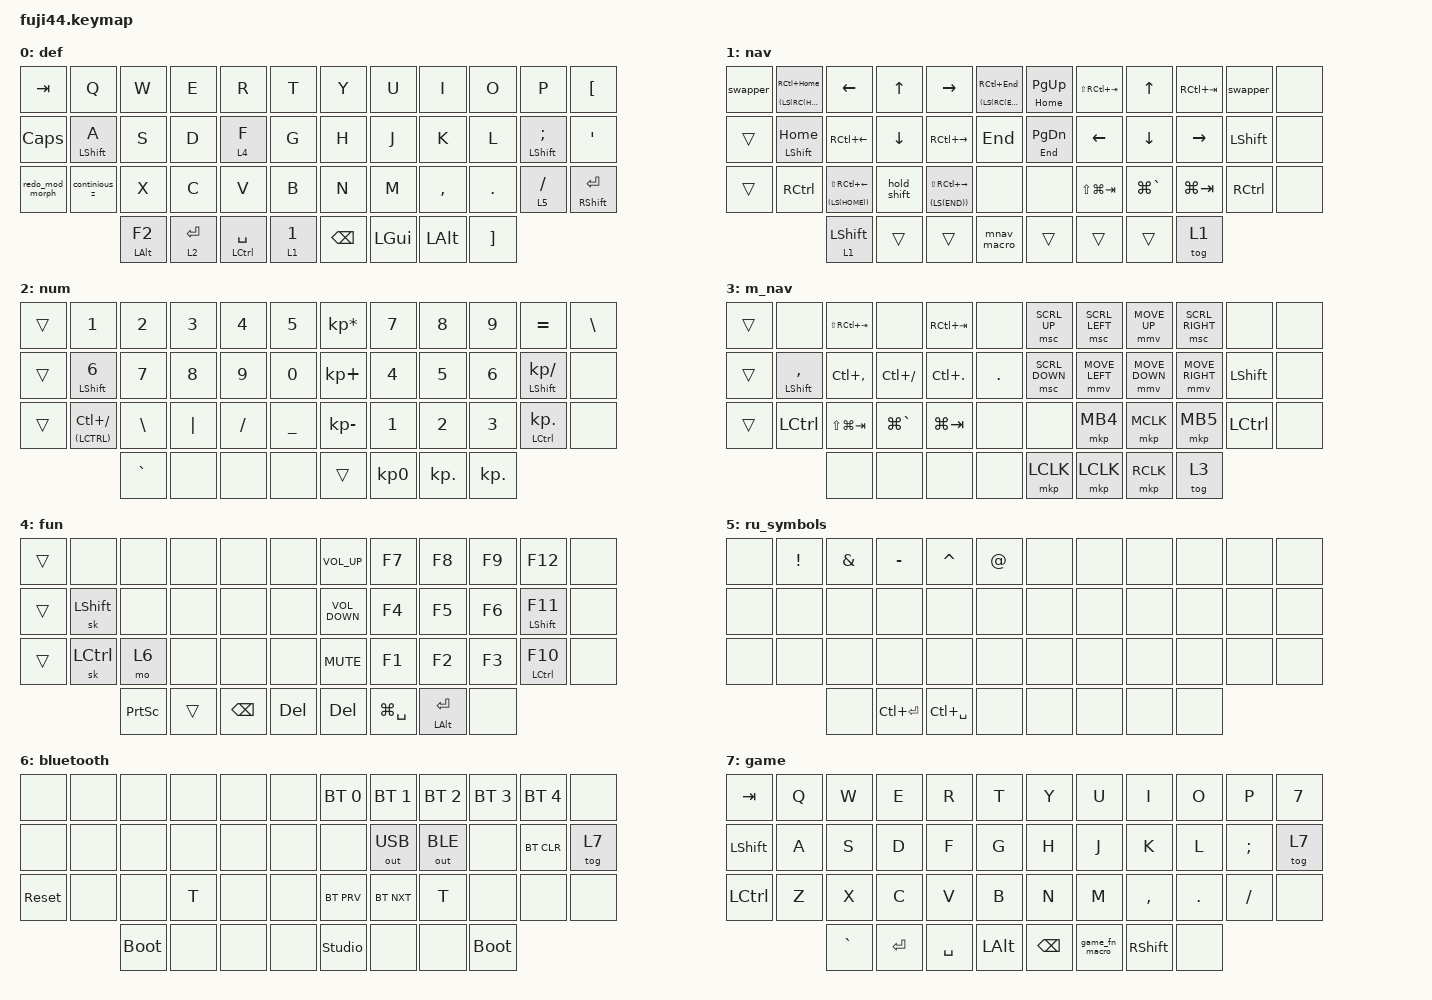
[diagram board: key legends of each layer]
/*
 * Copyright (c) 2020 The ZMK Contributors
 *
 * SPDX-License-Identifier: MIT
 * Config based on By Noidor13: https://github.com/Serk70/zmk-config-fuji44/blob/main/config/fuji44.keymap
 */

#define DEF 0
#define NAV   1
#define RU_S  6
#define MNAV   3
#define NUM   4
#define FUN   5
#define ZMK_POINTING_DEFAULT_MOVE_VAL 2000  // default: 600
#define ZMK_POINTING_DEFAULT_SCRL_VAL 30    // default: 10

#include <behaviors.dtsi>
#include <dt-bindings/zmk/bt.h>
#include <dt-bindings/zmk/keys.h>
#include <dt-bindings/zmk/outputs.h>
#include <dt-bindings/zmk/pointing.h>

/ {
    combos {
        compatible = "zmk,combos";

        combo_esc {
            key-positions = <1 2>;
            bindings = <&kp ESC>;
        };

        par_l {
            bindings = <&kp LEFT_PARENTHESIS>;
            key-positions = <15 16>;
            layers = <0 2 7>;
        };

        par_r {
            bindings = <&kp RIGHT_PARENTHESIS>;
            key-positions = <19 20>;
            layers = <0 2 7>;
        };

        undersor {
            bindings = <&kp UNDERSCORE>;
            key-positions = <32 33>;
            timeout-ms = <25>;
            layers = <0 2>;
        };

        s_quote {
            bindings = <&kp SINGLE_QUOTE>;
            key-positions = <21 22>;
            layers = <0 2>;
            timeout-ms = <35>;
        };

        l_brace {
            bindings = <&kp LEFT_BRACKET>;
            key-positions = <15 16 14>;
            layers = <0 2>;
        };

        r_brace {
            bindings = <&kp RIGHT_BRACKET>;
            key-positions = <19 20 21>;
            layers = <0 2>;
        };

        ru_yo {
            bindings = <&kp GRAVE>;
            key-positions = <3 4>;
            layers = <0>;
            timeout-ms = <30>;
        };

        ru_hard {
            bindings = <&kp RIGHT_BRACKET>;
            key-positions = <33 34>;
            layers = <0>;
            require-prior-idle-ms = <35>;
        };

        ru_hard2 {
            bindings = <&kp RIGHT_BRACKET>;
            key-positions = <9 10>;
            require-prior-idle-ms = <35>;
            layers = <0>;
        };

        minus {
            bindings = <&kp MINUS>;
            key-positions = <20 21>;
            layers = <0 2 7>;
            timeout-ms = <30>;
        };

        ru_colon {
            bindings = <&kp CARET>;
            key-positions = <8 9>;
            layers = <0>;
        };

        ru_he_2 {
            bindings = <&kp LEFT_BRACKET>;
            key-positions = <7 8>;
            require-prior-idle-ms = <35>;
            layers = <0 7>;
        };

        ru_ee {
            bindings = <&kp SINGLE_QUOTE>;
            key-positions = <31 32>;
            timeout-ms = <35>;
            layers = <0 2 7>;
        };

        g1 {
            bindings = <&kp NUMBER_1>;
            key-positions = <2 3>;
            layers = <7>;
        };

        g2 {
            bindings = <&kp NUMBER_2>;
            key-positions = <3 4>;
            layers = <7>;
        };

        g3 {
            bindings = <&kp NUMBER_3>;
            key-positions = <4 5>;
            layers = <7>;
        };

        g4 {
            bindings = <&kp N4>;
            key-positions = <16 17>;
            layers = <7>;
        };

        g5 {
            bindings = <&kp NUMBER_5>;
            key-positions = <28 29>;
            layers = <7>;
        };

        g_p_up {
            bindings = <&kp PAGE_UP>;
            key-positions = <13 14>;
            layers = <7>;
        };

        g_p_down {
            bindings = <&kp PAGE_DOWN>;
            key-positions = <25 26>;
            layers = <7>;
        };
    };

    behaviors {
        lt: layer_tap {
            compatible = "zmk,behavior-hold-tap";
            #binding-cells = <2>;
            flavor = "hold-preferred";
            tapping-term-ms = <200>;
            bindings = <&mo>, <&kp>;

            display-name = "Layer-Tap";
        };

        grave_bckspc: grave_bckspc {
            compatible = "zmk,behavior-mod-morph";
            #binding-cells = <0>;
            bindings = <&kp GRAVE>, <&kp BACKSPACE>;

            mods = <(MOD_LCTL)>;
        };

        bspc_del: bspc_del {
            compatible = "zmk,behavior-mod-morph";
            #binding-cells = <0>;
            bindings = <&kp BACKSPACE>, <&kp DEL>;

            mods = <(MOD_LSFT)>;
        };

        redo_mod_morph: redo_mod_morph {
            compatible = "zmk,behavior-mod-morph";
            #binding-cells = <0>;
            bindings = <&kp LEFT_CONTROL>, <&kp LS(LC(Z))>;

            mods = <(MOD_LCTL)>;
        };

        nav_al: nav_al {
            compatible = "zmk,behavior-auto-layer";
            #binding-cells = <1>;
            continue-list = <LEFT DOWN UP RIGHT HOME END LSHFT RCTRL PAGE_UP PAGE_DOWN TAB LEFT_GUI>;
        };

        td_nav: td_nav {
            compatible = "zmk,behavior-tap-dance";
            label = "TD_NAV";
            #binding-cells = <0>;
            tapping-term-ms = <1000>;
            bindings = <&nav_al 1>, <&mo 3>;
        };

        // Tap: nav auto_layer | double-tap: m_nav | Hold: nav-layer.

        smart_mnav: smart_mnav {
            compatible = "zmk,behavior-hold-tap";
            #binding-cells = <2>;
            flavor = "balanced";
            tapping-term-ms = <200>;
            bindings = <&mo>, <&nav_al>;
        };

        // Tap: nav auto_layer | double-tap: m_nav | Hold: nav-layer.

        smart_nav: smart_nav {
            compatible = "zmk,behavior-hold-tap";
            #binding-cells = <2>;
            flavor = "balanced";
            tapping-term-ms = <200>;
            bindings = <&mo>, <&nav_al>;
        };

        td_en_num_func: td_en_num_func {
            compatible = "zmk,behavior-tap-dance";
            label = "TD_NUM_FUNC";
            #binding-cells = <0>;
            tapping-term-ms = <180>;
            bindings = <&lt 3 ENTER>, <&mo 4>;
        };

        td_ctrl_shift: td_ctrl_shift {
            compatible = "zmk,behavior-tap-dance";
            label = "TD_CS";
            #binding-cells = <0>;
            tapping-term-ms = <200>;
            bindings = <&kp LEFT_CONTROL>, <&kp LS(LEFT_CONTROL)>;
        };

        td_ctrl_shift_z: td_ctrl_shift_z {
            compatible = "zmk,behavior-tap-dance";
            label = "TD_CS_Z";
            #binding-cells = <0>;
            tapping-term-ms = <200>;
            bindings = <&mt LEFT_CONTROL Z>, <&kp LS(LEFT_CONTROL)>;
        };

        td_ctrl_shift_semi: td_ctrl_shift_semi {
            compatible = "zmk,behavior-tap-dance";
            label = "TD_CS_SEMI";
            #binding-cells = <0>;
            tapping-term-ms = <200>;
            bindings = <&mt LSHIFT SEMI>, <&kp LS(LEFT_CONTROL)>;
        };

        hrm_lb: hrm_lb {
            compatible = "zmk,behavior-hold-tap";
            #binding-cells = <2>;
            flavor = "balanced";
            tapping-term-ms = <160>;
            bindings = <&kp>, <&kp>;

            hold-trigger-key-positions = <13 14 6 7 8 9 10 11 18 19 20 21 22 23 30 31 32 33 34 35 41 42 43 40 12 15 16 17 0 1 2 3 4 5 36 37 38 39 29 28>;
        };

        hrm_rb: hrm_rb {
            compatible = "zmk,behavior-hold-tap";
            #binding-cells = <2>;
            flavor = "hold-preferred";
            tapping-term-ms = <200>;
            bindings = <&kp>, <&kp>;

            hold-trigger-key-positions = <21 22 0 1 2 3 4 5 12 13 14 15 16 17 24 25 26 27 28 29 36 37 38 39 23 18 19 20 6 7 8 9 10 11 40 41 42 43 30 31>;
        };

        hrm_lm: hrm_lm {
            compatible = "zmk,behavior-hold-tap";
            #binding-cells = <2>;

            flavor = "balanced";
            require-prior-idle-ms = <30>;
            tapping-term-ms = <130>;

            bindings = <&kp>, <&kp>;

            label = "HRM_LM";
        };

        hrm_rm: hrm_rm {
            compatible = "zmk,behavior-hold-tap";
            #binding-cells = <2>;

            flavor = "balanced";
            require-prior-idle-ms = <30>;
            tapping-term-ms = <130>;

            bindings = <&kp>, <&kp>;

            label = "HRM_RM";
        };

        lt_letter: lt_letter {
            compatible = "zmk,behavior-hold-tap";
            #binding-cells = <2>;
            flavor = "balanced";
            tapping-term-ms = <200>;
            bindings = <&mo>, <&kp>;

            display-name = "Layer-Tap";
            label = "LT_LETTER";
            hold-trigger-key-positions = <6 7 8 9 10 11 18 19 20 21 22 23 30 31 32 33 34 35 40 41 42 43 40 41 42 43 40 41 42 43 36 37 38 39 26 13 25 0 12 24>;
        };

        lt_ru_symbols: lt_ru_symbols {
            compatible = "zmk,behavior-hold-tap";
            #binding-cells = <2>;
            flavor = "hold-preferred";
            tapping-term-ms = <200>;
            bindings = <&mo>, <&kp>;

            display-name = "Layer-Tap";
            label = "LT_RU_SYMBOLS";
            hold-trigger-key-positions = <0 1 2 3 4 5>;
        };

        mt_ctrl_space: mt_ctrl_space {
            compatible = "zmk,behavior-hold-tap";
            #binding-cells = <2>;
            flavor = "hold-preferred";
            tapping-term-ms = <200>;
            bindings = <&kp>, <&kp>;

            label = "MT_CTRL_SPACE";
            hold-trigger-key-positions = <0 1 2 3 4 5 12 13 17 24 25 29 30 31 32 33 34 35 40 41 42 43 6 7 8 9 10 11 19 18 20 21 22 23 36 14 15 16 26 27 28>;
        };

        td_num_mnav: td_num_mnav {
            compatible = "zmk,behavior-tap-dance";
            label = "TD_NUM_MNAV";
            #binding-cells = <0>;
            tapping-term-ms = <1000>;
            bindings = <&mo 2>, <&mo 3>;
        };

        continious_z: continious_z {
            compatible = "zmk,behavior-mod-morph";
            #binding-cells = <0>;
            bindings = <&hrm_lb LEFT_CONTROL Z>, <&kp LC(Z)>;

            mods = <(MOD_LCTL)>;
            label = "CONTINIOUS_Z";
        };

        lt_tog_layer__tog_key: lt_tog_layer__tog_key {
            compatible = "zmk,behavior-hold-tap";
            #binding-cells = <2>;
            flavor = "hold-preferred";
            tapping-term-ms = <200>;
            bindings = <&tog>, <&kt>;

            display-name = "Layer-Tap";
            label = "LT_TOG_LAYER__TOG_KEY";
        };

        hold_shift: hold_shift {
            compatible = "zmk,behavior-smart-toggle";
            #binding-cells = <0>;
            bindings = <&kp LSHIFT>, <&none>;

            ignored-key-positions = <15 1 2 3 4 5>;
        };

        swapper: swapper {
            compatible = "zmk,behavior-smart-toggle";
            #binding-cells = <0>;
            bindings = <&kp LALT>, <&kp TAB>;

            ignored-key-positions = <0 13>;
        };
    };

    macros {
        mnav_macro: mnav_macro {
            compatible = "zmk,behavior-macro";
            #binding-cells = <0>;
            bindings =
                <&macro_tap>,
                <&kp LEFT_CONTROL>,
                <&macro_press>,
                <&mo 3>,
                <&macro_pause_for_release>,
                <&macro_release>,
                <&mo 3>;
        };

        game_fn_macro: game_fn_macro {
            compatible = "zmk,behavior-macro";
            #binding-cells = <0>;
            bindings =
                <&macro_tap>,
                <&tog 7>,
                <&macro_press>,
                <&mo 4>,
                <&macro_pause_for_release>,
                <&macro_release>,
                <&mo 4>,
                <&macro_tap>,
                <&tog 7>;
        };
    };

    keymap {
        compatible = "zmk,keymap";

        def {
            bindings = <
&kp TAB          &kp Q             &kp W        &kp E        &kp R                              &kp T             &kp Y          &kp U         &kp I      &kp O              &kp P                    &kp LEFT_BRACKET
&kp CAPSLOCK     &hrm_lm LSHIFT A  &kp S        &kp D        &lt_letter 4 F                     &kp G             &kp H          &kp J         &kp K      &kp L              &hrm_rm LEFT_SHIFT SEMI  &kp SQT
&redo_mod_morph  &continious_z     &kp X        &kp C        &kp V                              &kp B             &kp N          &kp M         &kp COMMA  &kp DOT            &lt_ru_symbols 5 FSLH    &mt RSHIFT ENTER
                                   &mt LALT F2  &lt 2 ENTER  &mt_ctrl_space LEFT_CONTROL SPACE  &smart_nav 1 1    &kp BACKSPACE  &kp LEFT_GUI  &kp LALT   &kp RIGHT_BRACKET
            >;
        };

        nav {
            bindings = <
&swapper  &mt (LS(RC(HOME))) RC(HOME)  &kp LEFT                        &kp UP       &kp RIGHT                    &mt (LS(RC(END))) RC(END)    &mt HOME PAGE_UP   &kp LS(RC(TAB))  &kp UP         &kp RC(TAB)  &swapper        &none
&trans    &mt LSHFT HOME               &kp RC(LEFT)                    &kp DOWN     &kp RC(RIGHT)                &kp END                      &mt END PAGE_DOWN  &kp LEFT         &kp DOWN       &kp RIGHT    &kp LEFT_SHIFT  &none
&trans    &kp RCTRL                    &mt (LS(HOME)) LS(RC(LEFT))     &hold_shift  &mt (LS(END)) LS(RC(RIGHT))  &none                        &none              &kp LS(LG(TAB))  &kp LG(GRAVE)  &kp LG(TAB)  &kp RCTRL       &none
                                       &lt_tog_layer__tog_key 1 LSHFT  &trans       &trans                       &mnav_macro                  &trans             &trans           &trans         &tog 1
            >;
        };

        num {
            bindings = <
&trans  &kp N1                     &kp N2         &kp N3    &kp N4     &kp N5            &kp KP_ASTERISK  &kp N7           &kp N8      &kp N9      &kp EQUAL                    &kp BSLH
&trans  &hrm_lm LEFT_SHIFT N6      &kp N7         &kp N8    &kp N9     &kp N0            &kp KP_PLUS      &kp N4           &kp N5      &kp N6      &hrm_rm LEFT_SHIFT KP_SLASH  &none
&trans  &hrm_lb (LCTRL) LC(SLASH)  &kp BACKSLASH  &kp PIPE  &kp SLASH  &kp UNDERSCORE    &kp KP_MINUS     &kp N1           &kp N2      &kp N3      &hrm_rb LCTRL KP_DOT         &none
                                   &kp GRAVE      &none     &none      &none             &trans           &kp KP_NUMBER_0  &kp KP_DOT  &kp KP_DOT
            >;
        };

        m_nav {
            bindings = <
&trans  &none             &kp LS(RC(TAB))  &none          &kp RC(TAB)  &none      &msc SCRL_UP    &msc SCRL_LEFT  &mmv MOVE_UP    &msc SCRL_RIGHT  &none             &none
&trans  &mt LSHFT COMMA   &kp LC(COMMA)    &kp LC(FSLH)   &kp LC(DOT)  &kp DOT    &msc SCRL_DOWN  &mmv MOVE_LEFT  &mmv MOVE_DOWN  &mmv MOVE_RIGHT  &kp LEFT_SHIFT    &none
&trans  &kp LEFT_CONTROL  &kp LS(LG(TAB))  &kp LG(GRAVE)  &kp LG(TAB)  &none      &none           &mkp MB4        &mkp MCLK       &mkp MB5         &kp LEFT_CONTROL  &none
                          &none            &none          &none        &none      &mkp LCLK       &mkp LCLK       &mkp RCLK       &tog 3
            >;
        };

        fun {
            bindings = <
&trans  &none             &none            &none   &none          &none      &kp C_VOLUME_UP    &kp F7         &kp F8          &kp F9  &kp F12                 &none
&trans  &sk LSHIFT        &none            &none   &none          &none      &kp C_VOLUME_DOWN  &kp F4         &kp F5          &kp F6  &hrm_rm LEFT_SHIFT F11  &none
&trans  &sk LEFT_CONTROL  &mo 6            &none   &none          &none      &kp C_MUTE         &kp F1         &kp F2          &kp F3  &hrm_rb LCTRL F10       &none
                          &kp PRINTSCREEN  &trans  &kp BACKSPACE  &kp DEL    &kp DEL            &kp LG(SPACE)  &mt LALT ENTER  &none
            >;
        };

        ru_symbols {
            bindings = <
&none  &kp EXCL  &kp AMPS  &kp MINUS      &kp CARET      &kp AT    &none  &none  &none  &none  &none  &none
&none  &none     &none     &none          &none          &none     &none  &none  &none  &none  &none  &none
&none  &none     &none     &none          &none          &none     &none  &none  &none  &none  &none  &none
                 &none     &kp LC(ENTER)  &kp LC(SPACE)  &none     &none  &none  &none  &none
            >;
        };

        bluetooth {
            bindings = <
&none       &none  &none        &none  &none  &none    &bt BT_SEL 0    &bt BT_SEL 1  &bt BT_SEL 2  &bt BT_SEL 3  &bt BT_SEL 4  &none
&none       &none  &none        &none  &none  &none    &none           &out OUT_USB  &out OUT_BLE  &none         &bt BT_CLR    &tog 7
&sys_reset  &none  &none        &kp T  &none  &none    &bt BT_PRV      &bt BT_NXT    &kp T         &none         &none         &none
                   &bootloader  &none  &none  &none    &studio_unlock  &none         &none         &bootloader
            >;
        };

        game {
            bindings = <
&kp TAB    &kp Q  &kp W      &kp E    &kp R      &kp T       &kp Y          &kp U           &kp I       &kp O    &kp P     &kp N7
&kp LSHFT  &kp A  &kp S      &kp D    &kp F      &kp G       &kp H          &kp J           &kp K       &kp L    &kp SEMI  &tog 7
&kp LCTRL  &kp Z  &kp X      &kp C    &kp V      &kp B       &kp N          &kp M           &kp COMMA   &kp DOT  &kp FSLH  &none
                  &kp GRAVE  &kp RET  &kp SPACE  &kp LALT    &kp BACKSPACE  &game_fn_macro  &kp RSHIFT  &none
            >;
        };
    };
};
